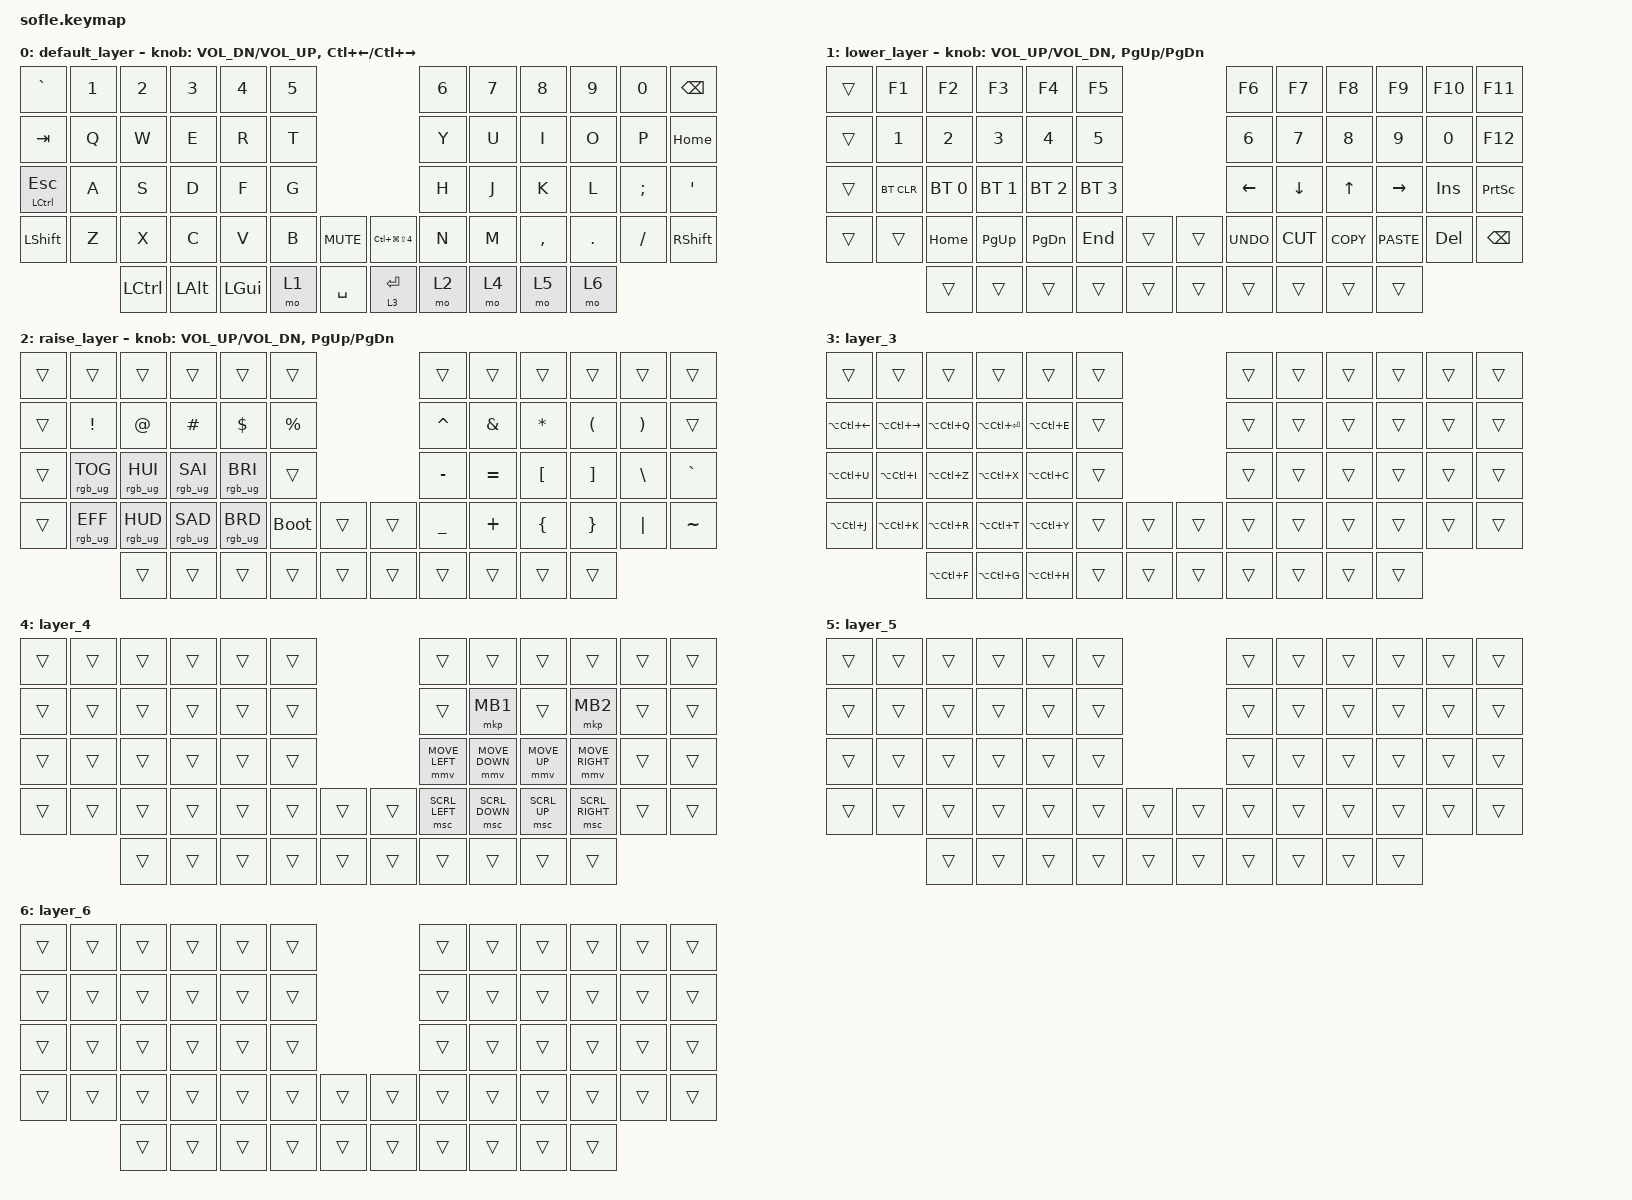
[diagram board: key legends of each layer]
/*
 * Copyright (c) 2020 The ZMK Contributors
 *
 * SPDX-License-Identifier: MIT
 */

#include <behaviors.dtsi>
#include <dt-bindings/zmk/bt.h>
#include <dt-bindings/zmk/keys.h>
#include <dt-bindings/zmk/pointing.h>
#include <dt-bindings/zmk/rgb.h>

&caps_word { continue-list = <UNDERSCORE MINUS>; };

&led_strip { chain-length = <35>; };

&left_encoder { resolution = <2>; };

/ {
    combos {
        compatible = "zmk,combos";

        sh_bs_delete {
            bindings = <&kp DEL>;
            key-positions = <36 11>;
            layers = <0>;
        };
    };

    keymap {
        compatible = "zmk,keymap";

        default_layer {
            // ------------------------------------------------------------------------------------------------------------
            // |  ESC  |  1  |  2  |  3   |  4   |  5   |                   |  6   |  7    |  8    |  9   |   0   | BKSPC |
            // |  TAB  |  Q  |  W  |  E   |  R   |  T   |                   |  Y   |  U    |  I    |  O   |   P   |  DEL  |
            // |  CAPS |  A  |  S  |  D   |  F   |  G   |                   |  H   |  J    |  K    |  L   |   ;   |   ' " |
            // | SHIFT |  Z  |  X  |  C   |  V   |  B   |  MUTE  |  |       |  N   |  M    |  ,<   |  .>  |   /?  | SHIFT |
            //               | GUI | ALT  | CTRL | LOWER|  ENTER |  | SPACE | RAISE| CTRL  | ALT   | GUI  |

            bindings = <
&kp GRAVE      &kp N1  &kp N2     &kp N3    &kp N4        &kp N5                                          &kp N6  &kp N7  &kp N8     &kp N9   &kp N0    &kp BACKSPACE
&kp TAB        &kp Q   &kp W      &kp E     &kp R         &kp T                                           &kp Y   &kp U   &kp I      &kp O    &kp P     &kp HOME
&mt LCTRL ESC  &kp A   &kp S      &kp D     &kp F         &kp G                                           &kp H   &kp J   &kp K      &kp L    &kp SEMI  &kp SQT
&kp LSHFT      &kp Z   &kp X      &kp C     &kp V         &kp B   &kp C_MUTE    &kp LC(LG(LS(NUMBER_4)))  &kp N   &kp M   &kp COMMA  &kp DOT  &kp FSLH  &kp RSHFT
                       &kp LCTRL  &kp LALT  &kp LEFT_GUI  &mo 1   &kp SPACE     &lt 3 ENTER               &mo 2   &mo 4   &mo 5      &mo 6
            >;

            sensor-bindings =
                <&inc_dec_kp C_VOL_DN C_VOL_UP>,
                <&inc_dec_kp LC(LEFT) LC(RIGHT)>;
        };

        lower_layer {
            // TODO: Some binds are waiting for shifted keycode support.
            // ------------------------------------------------------------------------------------------------------------
            // |       |  F1 |  F2 |  F3  |  F4  |  F5  |                   |  F6  |  F7   |  F8   |   F9  |  F10  |     F11   |
            // | `     |   1 |   2 |   3  |   4  |   5  |                   |   6  |   7   |   8   |   9   |    0  |     F12   |
            // |       |BTCLR| BT1 | BT2  | BT3  | BT4  |                   | LEFT | DOWN  |  UP   | RIGHT |  INS  |PRINTSCREEN|
            // |       |     | HOME| PGUP | PGDN | END  |        |  |       | UNDO |  CUT  | COPY  | PASTE |  DEL  |    BKSP   |
            //               |     |      |      |      |        |  |       |      |       |       |       |

            bindings = <
&trans  &kp F1      &kp F2        &kp F3        &kp F4        &kp F5                          &kp F6      &kp F7     &kp F8      &kp F9       &kp F10  &kp F11
&trans  &kp N1      &kp N2        &kp N3        &kp N4        &kp N5                          &kp N6      &kp N7     &kp N8      &kp N9       &kp N0   &kp F12
&trans  &bt BT_CLR  &bt BT_SEL 0  &bt BT_SEL 1  &bt BT_SEL 2  &bt BT_SEL 3                    &kp LEFT    &kp DOWN   &kp UP      &kp RIGHT    &kp INS  &kp PSCRN
&trans  &trans      &kp HOME      &kp PG_UP     &kp PG_DN     &kp END       &trans    &trans  &kp K_UNDO  &kp K_CUT  &kp K_COPY  &kp K_PASTE  &kp DEL  &kp BSPC
                    &trans        &trans        &trans        &trans        &trans    &trans  &trans      &trans     &trans      &trans
            >;

            sensor-bindings = <&inc_dec_kp C_VOL_UP C_VOL_DN &inc_dec_kp PG_UP PG_DN>;
        };

        raise_layer {
            // ------------------------------------------------------------------------------------------------------------
            // |     |       |       |       |       |       |                |      |      |       |      |       |       |
            // |     |   !   |   @   |   #   |   $   |   %   |                |   ^  |  &   |   *   |   (  |   )   |       |
            // |     |RGB_TOG|RGB_HUI|RGB_SAI|RGB_BRI|       |                |   -  |   =  |   [   |   ]  |   \   | GRAVE |
            // |     |RGB_EFF|RGB_HUD|RGB_SAD|RGB_BRD|QK_BOOT|      |  |      |   _  |   +  |   {   |   }  |   |   |   ~   |
            //               |       |       |       |       |      |  |      |      |      |       |      |

            bindings = <
&trans  &trans           &trans           &trans           &trans           &trans                         &trans     &trans     &trans     &trans    &trans    &trans
&trans  &kp EXCL         &kp AT           &kp HASH         &kp DLLR         &kp PRCNT                      &kp CARET  &kp AMPS   &kp ASTRK  &kp LPAR  &kp RPAR  &trans
&trans  &rgb_ug RGB_TOG  &rgb_ug RGB_HUI  &rgb_ug RGB_SAI  &rgb_ug RGB_BRI  &trans                         &kp MINUS  &kp EQUAL  &kp LBKT   &kp RBKT  &kp BSLH  &kp GRAVE
&trans  &rgb_ug RGB_EFF  &rgb_ug RGB_HUD  &rgb_ug RGB_SAD  &rgb_ug RGB_BRD  &bootloader  &trans    &trans  &kp UNDER  &kp PLUS   &kp LBRC   &kp RBRC  &kp PIPE  &kp TILDE
                         &trans           &trans           &trans           &trans       &trans    &trans  &trans     &trans     &trans     &trans
            >;

            sensor-bindings = <&inc_dec_kp C_VOL_UP C_VOL_DN &inc_dec_kp PG_UP PG_DN>;
        };

        layer_3 {
            bindings = <
&trans            &trans             &trans         &trans             &trans         &trans                    &trans  &trans  &trans  &trans  &trans  &trans
&kp LA(LC(LEFT))  &kp LA(LC(RIGHT))  &kp LA(LC(Q))  &kp LA(LC(ENTER))  &kp LA(LC(E))  &trans                    &trans  &trans  &trans  &trans  &trans  &trans
&kp LA(LC(U))     &kp LA(LC(I))      &kp LA(LC(Z))  &kp LA(LC(X))      &kp LA(LC(C))  &trans                    &trans  &trans  &trans  &trans  &trans  &trans
&kp LA(LC(J))     &kp LA(LC(K))      &kp LA(LC(R))  &kp LA(LC(T))      &kp LA(LC(Y))  &trans  &trans    &trans  &trans  &trans  &trans  &trans  &trans  &trans
                                     &kp LA(LC(F))  &kp LA(LC(G))      &kp LA(LC(H))  &trans  &trans    &trans  &trans  &trans  &trans  &trans
            >;
        };

        layer_4 {
            bindings = <
&trans  &trans  &trans  &trans  &trans  &trans                    &trans          &trans          &trans        &trans           &trans  &trans
&trans  &trans  &trans  &trans  &trans  &trans                    &trans          &mkp MB1        &trans        &mkp MB2         &trans  &trans
&trans  &trans  &trans  &trans  &trans  &trans                    &mmv MOVE_LEFT  &mmv MOVE_DOWN  &mmv MOVE_UP  &mmv MOVE_RIGHT  &trans  &trans
&trans  &trans  &trans  &trans  &trans  &trans  &trans    &trans  &msc SCRL_LEFT  &msc SCRL_DOWN  &msc SCRL_UP  &msc SCRL_RIGHT  &trans  &trans
                &trans  &trans  &trans  &trans  &trans    &trans  &trans          &trans          &trans        &trans
            >;
        };

        layer_5 {
            bindings = <
&trans  &trans  &trans  &trans  &trans  &trans                    &trans  &trans  &trans  &trans  &trans  &trans
&trans  &trans  &trans  &trans  &trans  &trans                    &trans  &trans  &trans  &trans  &trans  &trans
&trans  &trans  &trans  &trans  &trans  &trans                    &trans  &trans  &trans  &trans  &trans  &trans
&trans  &trans  &trans  &trans  &trans  &trans  &trans    &trans  &trans  &trans  &trans  &trans  &trans  &trans
                &trans  &trans  &trans  &trans  &trans    &trans  &trans  &trans  &trans  &trans
            >;
        };

        layer_6 {
            bindings = <
&trans  &trans  &trans  &trans  &trans  &trans                    &trans  &trans  &trans  &trans  &trans  &trans
&trans  &trans  &trans  &trans  &trans  &trans                    &trans  &trans  &trans  &trans  &trans  &trans
&trans  &trans  &trans  &trans  &trans  &trans                    &trans  &trans  &trans  &trans  &trans  &trans
&trans  &trans  &trans  &trans  &trans  &trans  &trans    &trans  &trans  &trans  &trans  &trans  &trans  &trans
                &trans  &trans  &trans  &trans  &trans    &trans  &trans  &trans  &trans  &trans
            >;
        };
    };
};
